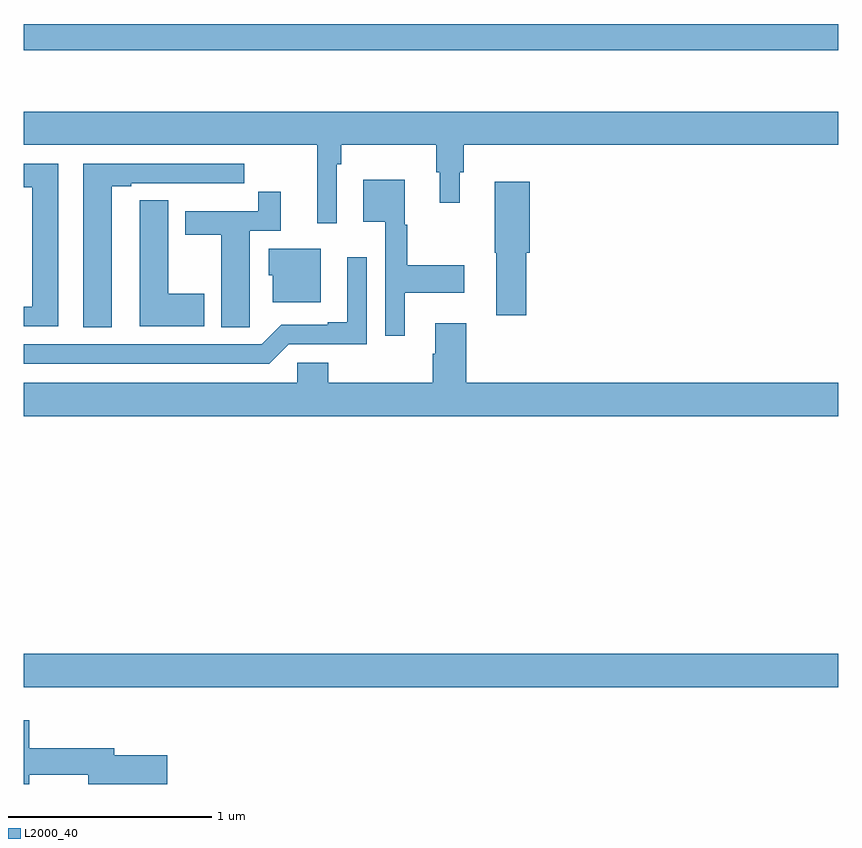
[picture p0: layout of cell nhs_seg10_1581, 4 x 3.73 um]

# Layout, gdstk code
import gdstk
lib = gdstk.Library(unit=1e-6, precision=1e-09)
def R(c, l, rs):  # rectangles x0, y0, x1, y1
    for r in rs: c.add(gdstk.rectangle(r[:2], r[2:], *l))
def P(c, l, *ps):  # polygons
    for p in ps: c.add(gdstk.Polygon(p, *l))
L2000_40 = (2000, 40)

nhs_seg10_1581 = lib.new_cell('nhs_seg10_1581')
R(nhs_seg10_1581, L2000_40, [(193,1306.976,197,1307.14), (193,1310.106,197,1310.234)])
P(nhs_seg10_1581, L2000_40, [(194.538,1309.544),(194.558,1309.544),(194.558,1309.64),(195.025,1309.64),(195.025,1309.506),(195.044,1309.506),(195.044,1309.356),(195.142,1309.356),(195.142,1309.506),(195.161,1309.506),(195.161,1309.64),(197,1309.64),(197,1309.804),(193,1309.804),(193,1309.64),(194.441,1309.64),(194.441,1309.254),(194.538,1309.254)],
  [(193.432,1309.437),(193.528,1309.437),(193.528,1309.452),(193.804,1309.452),(193.804,1309.451),(193.97,1309.451),(193.97,1309.452),(194.083,1309.452),(194.083,1309.548),(193.292,1309.548),(193.292,1308.745),(193.432,1308.745)],
  [(193.168,1309.548),(193,1309.548),(193,1309.432),(193.04,1309.432),(193.04,1308.846),(193,1308.846),(193,1308.75),(193.168,1308.75)],
  [(194.872,1308.914),(195.163,1308.914),(195.163,1309.049),(194.884,1309.049),(194.884,1309.248),(194.872,1309.248),(194.872,1309.468),(194.666,1309.468),(194.666,1309.262),(194.775,1309.262),(194.775,1308.702),(194.872,1308.702)],
  [(195.467,1309.11),(195.485,1309.11),(195.485,1309.459),(195.314,1309.459),(195.314,1309.11),(195.32,1309.11),(195.32,1308.804),(195.467,1308.804)],
  [(194.109,1308.856),(194.11,1308.856),(194.11,1309.218),(194.261,1309.218),(194.261,1309.411),(194.152,1309.411),(194.152,1309.314),(193.793,1309.314),(193.793,1309.198),(193.97,1309.198),(193.97,1308.745),(194.109,1308.745)],
  [(193.885,1308.909),(193.708,1308.909),(193.708,1309.367),(193.569,1309.367),(193.569,1309.259),(193.568,1309.259),(193.568,1308.749),(193.885,1308.749)],
  [(194.458,1309.129),(194.204,1309.129),(194.204,1308.999),(194.222,1308.999),(194.222,1308.866),(194.458,1308.866)],
  [(194.301,1308.66),(194.685,1308.66),(194.685,1309.087),(194.588,1309.087),(194.588,1308.769),(194.492,1308.769),(194.492,1308.756),(194.265,1308.756),(194.169,1308.66),(193,1308.66),(193,1308.564),(194.205,1308.564)],
  [(197,1308.472),(195.173,1308.472),(195.173,1308.763),(195.02,1308.763),(195.02,1308.614),(195.008,1308.614),(195.008,1308.472),(194.495,1308.472),(194.495,1308.57),(194.343,1308.57),(194.343,1308.472),(193,1308.472),(193,1308.308),(197,1308.308)],
  [(193.025,1306.546),(193.316,1306.546),(193.316,1306.5),(193.705,1306.5),(193.705,1306.641),(193.444,1306.641),(193.444,1306.675),(193.025,1306.675),(193.025,1306.813),(193,1306.813),(193,1306.5),(193.025,1306.5)])

lib.write_gds('nhs_seg10_1581.gds')
